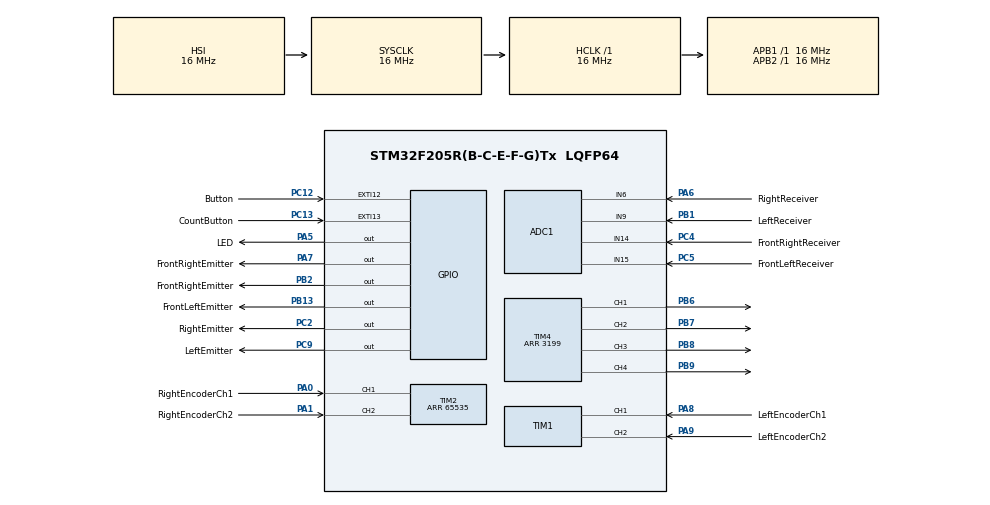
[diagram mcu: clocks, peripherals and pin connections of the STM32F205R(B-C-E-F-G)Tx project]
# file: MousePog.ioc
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ADC1.Channel-0\#ChannelRegularConversion=ADC_CHANNEL_6
ADC1.ContinuousConvMode=ENABLE
ADC1.DMAContinuousRequests=ENABLE
ADC1.NbrOfConversionFlag=1
ADC1.Rank-0\#ChannelRegularConversion=1
ADC1.SamplingTime-0\#ChannelRegularConversion=ADC_SAMPLETIME_3CYCLES
ADC1.master=1
Dma.ADC1.0.Direction=DMA_PERIPH_TO_MEMORY
Dma.ADC1.0.FIFOMode=DMA_FIFOMODE_DISABLE
Dma.ADC1.0.Instance=DMA2_Stream0
Dma.ADC1.0.MemDataAlignment=DMA_MDATAALIGN_HALFWORD
Dma.ADC1.0.MemInc=DMA_MINC_ENABLE
Dma.ADC1.0.Mode=DMA_CIRCULAR
Dma.ADC1.0.PeriphDataAlignment=DMA_PDATAALIGN_HALFWORD
Dma.ADC1.0.PeriphInc=DMA_PINC_DISABLE
Dma.ADC1.0.Priority=DMA_PRIORITY_LOW
Dma.Request0=ADC1
Mcu.Family=STM32F2
Mcu.Name=STM32F205R(B-C-E-F-G)Tx
Mcu.Package=LQFP64
NVIC.DMA2_Stream0_IRQn=true\:0\:0\:false\:false\:true\:false\:true\:true
NVIC.EXTI15_10_IRQn=true\:0\:0\:false\:false\:true\:true\:true\:true
NVIC.PriorityGroup=NVIC_PRIORITYGROUP_4
NVIC.TIM4_IRQn=true\:0\:0\:false\:false\:true\:true\:true\:true
PA0-WKUP.GPIO_Label=RightEncoderCh1
PA0-WKUP.Signal=S_TIM2_CH1_ETR
PA1.GPIO_Label=RightEncoderCh2
PA1.Signal=S_TIM2_CH2
PA5.GPIO_Label=LED
PA5.Signal=GPIO_Output
PA6.GPIO_Label=RightReceiver
PA6.Signal=ADCx_IN6
PA7.GPIO_Label=FrontRightEmitter
PA7.Signal=GPIO_Output
PA8.GPIO_Label=LeftEncoderCh1
PA8.Signal=S_TIM1_CH1
PA9.GPIO_Label=LeftEncoderCh2
PA9.Signal=S_TIM1_CH2
PB1.GPIO_Label=LeftReceiver
PB1.Signal=ADCx_IN9
PB13.GPIO_Label=FrontLeftEmitter
PB13.Signal=GPIO_Output
PB2.GPIO_Label=FrontRightEmitter
PB2.Signal=GPIO_Output
PB6.Signal=S_TIM4_CH1
PB7.Signal=S_TIM4_CH2
PB8.Signal=S_TIM4_CH3
PB9.Signal=S_TIM4_CH4
PC12.GPIO_Label=Button
PC12.GPIO_ModeDefaultEXTI=GPIO_MODE_IT_RISING_FALLING
PC12.Signal=GPXTI12
PC13.GPIO_Label=CountButton
PC13.GPIO_ModeDefaultEXTI=GPIO_MODE_IT_RISING_FALLING
PC13.Signal=GPXTI13
PC2.GPIO_Label=RightEmitter
PC2.Signal=GPIO_Output
PC4.GPIO_Label=FrontRightReceiver
PC4.Signal=ADCx_IN14
PC5.GPIO_Label=FrontLeftReceiver
PC5.Signal=ADCx_IN15
PC9.GPIO_Label=LeftEmitter
PC9.Signal=GPIO_Output
ProjectManager.HeapSize=0x200
ProjectManager.StackSize=0x400
ProjectManager.TargetToolchain=STM32CubeIDE
RCC.48MHZClocksFreq_Value=48000000
RCC.AHBFreq_Value=16000000
RCC.APB1Freq_Value=16000000
RCC.APB2Freq_Value=16000000
RCC.CortexFreq_Value=16000000
RCC.HSE_VALUE=25000000
RCC.HSI_VALUE=16000000
RCC.LSE_VALUE=32768
RCC.SYSCLKFreq_VALUE=16000000
RCC.VCOOutputFreq_Value=192000000
SH.ADCx_IN14.0=ADC1_IN14,IN14
SH.ADCx_IN15.0=ADC1_IN15,IN15
SH.ADCx_IN6.0=ADC1_IN6,IN6
SH.ADCx_IN9.0=ADC1_IN9,IN9
SH.S_TIM1_CH1.0=TIM1_CH1,Encoder_Interface
SH.S_TIM1_CH2.0=TIM1_CH2,Encoder_Interface
SH.S_TIM2_CH1_ETR.0=TIM2_CH1,Encoder_Interface
SH.S_TIM2_CH2.0=TIM2_CH2,Encoder_Interface
SH.S_TIM4_CH1.0=TIM4_CH1,PWM Generation1 CH1
SH.S_TIM4_CH2.0=TIM4_CH2,PWM Generation2 CH2
SH.S_TIM4_CH3.0=TIM4_CH3,PWM Generation3 CH3
SH.S_TIM4_CH4.0=TIM4_CH4,PWM Generation4 CH4
TIM1.EncoderMode=TIM_ENCODERMODE_TI12
TIM2.EncoderMode=TIM_ENCODERMODE_TI12
TIM2.Period=65535
TIM4.Channel-PWM\ Generation1\ CH1=TIM_CHANNEL_1
TIM4.Channel-PWM\ Generation2\ CH2=TIM_CHANNEL_2
TIM4.Channel-PWM\ Generation3\ CH3=TIM_CHANNEL_3
TIM4.Channel-PWM\ Generation4\ CH4=TIM_CHANNEL_4
TIM4.Period=3199
board=custom

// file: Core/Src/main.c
/* USER CODE BEGIN Header */
/**
  ******************************************************************************
  * @file           : main.c
  * @brief          : Main program body
  ******************************************************************************
  * @attention
  *
  * Copyright (c) 2024 STMicroelectronics.
  * All rights reserved.
  *
  * This software is licensed under terms that can be found in the LICENSE file
  * in the root directory of this software component.
  * If no LICENSE file comes with this software, it is provided AS-IS.
  *
  ******************************************************************************
  */
/* USER CODE END Header */
#include "main.h"

/* USER CODE BEGIN Includes */

#include "encoders.h"
#include "motors.h"
#include "controller.h"
#include "pid.h"
#include "delay.h"
#include "irs.h"
#include "solver.h"

/* USER CODE END Includes */

ADC_HandleTypeDef hadc1;
DMA_HandleTypeDef hdma_adc1;

TIM_HandleTypeDef htim1;
TIM_HandleTypeDef htim2;
TIM_HandleTypeDef htim4;

/* USER CODE BEGIN PV */

int16_t left_counts = 0;
int16_t right_counts = 0;

int16_t l = 0;
int16_t lf = 0;
int16_t rf = 0;
int16_t r = 0;

int16_t button = 0;
int16_t returning = 0;
int16_t minCorrectCt = 4;

int16_t completed = 0;
int16_t moveCounts;

/* USER CODE END PV */

void SystemClock_Config(void);
static void MX_GPIO_Init(void);
static void MX_DMA_Init(void);
static void MX_ADC1_Init(void);
static void MX_TIM1_Init(void);
static void MX_TIM2_Init(void);
static void MX_TIM4_Init(void);

int main(void)
{

  /* MCU Configuration--------------------------------------------------------*/

  /* Reset of all peripherals, Initializes the Flash interface and the Systick. */
  HAL_Init();

  /* USER CODE BEGIN Init */

  Delay_Init();

  /* USER CODE END Init */

  /* Configure the system clock */
  SystemClock_Config();

  /* Initialize all configured peripherals */
  MX_GPIO_Init();
  MX_DMA_Init();
  MX_ADC1_Init();
  MX_TIM1_Init();
  MX_TIM2_Init();
  MX_TIM4_Init();
  /* USER CODE BEGIN 2 */

  //Encoder setup:
  HAL_TIM_Encoder_Start(&htim1, TIM_CHANNEL_ALL);
  HAL_TIM_Encoder_Start(&htim2, TIM_CHANNEL_ALL);

  //Motor setup:
  HAL_TIM_PWM_Start(&htim4, TIM_CHANNEL_1);
  HAL_TIM_PWM_Start(&htim4, TIM_CHANNEL_2);
  HAL_TIM_PWM_Start(&htim4, TIM_CHANNEL_3);
  HAL_TIM_PWM_Start(&htim4, TIM_CHANNEL_4);

  HAL_Delay(3000);

  /* USER CODE END 2 */

  /* Infinite loop */
  /* USER CODE BEGIN WHILE */

  initMaze();

  while (1)
  {

	  while (completed == 0) {

		  if (button == 1) {
			  HAL_Delay(5000);
			  button = 0;
		  }

		  l = readLeftIR();
		  lf = readFrontLeftIR();
		  rf = readFrontRightIR();
		  r = readRightIR();

		  Action action = floodFill();

	  	  moveCounts++;

		  switch(action){
			  case FORWARD:
				  move(1);
				  break;
			  case LEFT:
				  turn(-1);
				  if (moveCounts > 1 && r > 450) {
					  correct();
					  moveCounts = 0;
				  }
				  move(1);
				  break;
			  case RIGHT:
				  turn(1);
				  if (moveCounts > 1 && l > 450) {
					  correct();
					  moveCounts = 0;
				  }
				  move(1);
				  break;
			  case BACK:
				  turn(1);
				  if (moveCounts > 1 && l > 450) {
					  correct();
					  moveCounts = 0;
				  }
				  turn(1);
				  move(1);
				  break;
			  case IDLE:
				  completed = 1;
				  break;
		  }

	  }

	  completed = 0;
	  returning = 1;
	  while (completed == 0) {

		  if (button == 1) {
			  HAL_Delay(5000);
			  button = 0;
		  }

		  l = readLeftIR();
		  lf = readFrontLeftIR();
		  rf = readFrontRightIR();
		  r = readRightIR();

		  Action action = floodFillReturn();

		  switch(action){
			  case FORWARD:
				  move(1);
				  break;
			  case LEFT:
				  turn(-1);
				  if (moveCounts > 4 && r > 450) {
					  correct();
					  moveCounts = 0;
				  }
				  move(1);
				  break;
			  case RIGHT:
				  turn(1);
				  if (moveCounts > 4 && l > 450) {
					  correct();
					  moveCounts = 0;
				  }
				  move(1);
				  break;
			  case BACK:
				  turn(1);
				  if (moveCounts > 4 && l > 450) {
					  correct();
					  moveCounts = 0;
				  }
				  turn(1);
				  move(1);
				  break;
			  case IDLE:
				  completed = 1;
				  break;
		  }

		  moveCounts++;
	  }

	  HAL_Delay(5000);

	  completed = 0;
	  returning = 0;
	  while (1) {

		  if (button == 1) {
			  HAL_Delay(5000);
			  button = 0;
		  }
		  l = readLeftIR();
		  lf = readFrontLeftIR();
		  rf = readFrontRightIR();
		  r = readRightIR();

		  Action action = floodFill();

		  if (completed == 1) { action = IDLE; }

		  switch(action){
			  case FORWARD:
				  move(1);
				  break;
			  case LEFT:
				  turn(-1);
				  if (moveCounts > minCorrectCt && r > 450) {
					  correct();
					  moveCounts = 0;
				  }
				  move(1);
				  break;
			  case RIGHT:
				  turn(1);
				  if (moveCounts > minCorrectCt && l > 450) {
					  correct();
					  moveCounts = 0;
				  }
				  move(1);
				  break;
			  case BACK:
				  turn(1);
				  if (moveCounts > minCorrectCt && l > 450) {
					  correct();
					  moveCounts = 0;
				  }
				  turn(1);
				  move(1);
				  break;
			  case IDLE:
				  completed = 1;
				  break;
		  }

		  moveCounts++;
	  }

    /* USER CODE END WHILE */

  }
}

void SystemClock_Config(void)
{
  RCC_OscInitTypeDef RCC_OscInitStruct = {0};
  RCC_ClkInitTypeDef RCC_ClkInitStruct = {0};

  /** Initializes the RCC Oscillators according to the specified parameters
  * in the RCC_OscInitTypeDef structure.
  */
  RCC_OscInitStruct.OscillatorType = RCC_OSCILLATORTYPE_HSI;
  RCC_OscInitStruct.HSIState = RCC_HSI_ON;
  RCC_OscInitStruct.HSICalibrationValue = RCC_HSICALIBRATION_DEFAULT;
  RCC_OscInitStruct.PLL.PLLState = RCC_PLL_NONE;
  if (HAL_RCC_OscConfig(&RCC_OscInitStruct) != HAL_OK)
  {
    Error_Handler();
  }

  /** Initializes the CPU, AHB and APB buses clocks
  */
  RCC_ClkInitStruct.ClockType = RCC_CLOCKTYPE_HCLK|RCC_CLOCKTYPE_SYSCLK
                              |RCC_CLOCKTYPE_PCLK1|RCC_CLOCKTYPE_PCLK2;
  RCC_ClkInitStruct.SYSCLKSource = RCC_SYSCLKSOURCE_HSI;
  RCC_ClkInitStruct.AHBCLKDivider = RCC_SYSCLK_DIV1;
  RCC_ClkInitStruct.APB1CLKDivider = RCC_HCLK_DIV1;
  RCC_ClkInitStruct.APB2CLKDivider = RCC_HCLK_DIV1;

  if (HAL_RCC_ClockConfig(&RCC_ClkInitStruct, FLASH_LATENCY_0) != HAL_OK)
  {
    Error_Handler();
  }
}

static void MX_ADC1_Init(void)
{

  ADC_ChannelConfTypeDef sConfig = {0};

  /** Configure the global features of the ADC (Clock, Resolution, Data Alignment and number of conversion)
  */
  hadc1.Instance = ADC1;
  hadc1.Init.ClockPrescaler = ADC_CLOCK_SYNC_PCLK_DIV2;
  hadc1.Init.Resolution = ADC_RESOLUTION_12B;
  hadc1.Init.ScanConvMode = DISABLE;
  hadc1.Init.ContinuousConvMode = ENABLE;
  hadc1.Init.DiscontinuousConvMode = DISABLE;
  hadc1.Init.ExternalTrigConvEdge = ADC_EXTERNALTRIGCONVEDGE_NONE;
  hadc1.Init.ExternalTrigConv = ADC_SOFTWARE_START;
  hadc1.Init.DataAlign = ADC_DATAALIGN_RIGHT;
  hadc1.Init.NbrOfConversion = 1;
  hadc1.Init.DMAContinuousRequests = ENABLE;
  hadc1.Init.EOCSelection = ADC_EOC_SINGLE_CONV;
  if (HAL_ADC_Init(&hadc1) != HAL_OK)
  {
    Error_Handler();
  }

  /** Configure for the selected ADC regular channel its corresponding rank in the sequencer and its sample time.
  */
  sConfig.Channel = ADC_CHANNEL_6;
  sConfig.Rank = 1;
  sConfig.SamplingTime = ADC_SAMPLETIME_3CYCLES;
  if (HAL_ADC_ConfigChannel(&hadc1, &sConfig) != HAL_OK)
  {
    Error_Handler();
  }

}

static void MX_TIM1_Init(void)
{

  TIM_Encoder_InitTypeDef sConfig = {0};
  TIM_MasterConfigTypeDef sMasterConfig = {0};

  htim1.Instance = TIM1;
  htim1.Init.Prescaler = 0;
  htim1.Init.CounterMode = TIM_COUNTERMODE_UP;
  htim1.Init.Period = 65535;
  htim1.Init.ClockDivision = TIM_CLOCKDIVISION_DIV1;
  htim1.Init.RepetitionCounter = 0;
  htim1.Init.AutoReloadPreload = TIM_AUTORELOAD_PRELOAD_DISABLE;
  sConfig.EncoderMode = TIM_ENCODERMODE_TI12;
  sConfig.IC1Polarity = TIM_ICPOLARITY_RISING;
  sConfig.IC1Selection = TIM_ICSELECTION_DIRECTTI;
  sConfig.IC1Prescaler = TIM_ICPSC_DIV1;
  sConfig.IC1Filter = 0;
  sConfig.IC2Polarity = TIM_ICPOLARITY_RISING;
  sConfig.IC2Selection = TIM_ICSELECTION_DIRECTTI;
  sConfig.IC2Prescaler = TIM_ICPSC_DIV1;
  sConfig.IC2Filter = 0;
  if (HAL_TIM_Encoder_Init(&htim1, &sConfig) != HAL_OK)
  {
    Error_Handler();
  }
  sMasterConfig.MasterOutputTrigger = TIM_TRGO_RESET;
  sMasterConfig.MasterSlaveMode = TIM_MASTERSLAVEMODE_DISABLE;
  if (HAL_TIMEx_MasterConfigSynchronization(&htim1, &sMasterConfig) != HAL_OK)
  {
    Error_Handler();
  }

}

static void MX_TIM2_Init(void)
{

  TIM_Encoder_InitTypeDef sConfig = {0};
  TIM_MasterConfigTypeDef sMasterConfig = {0};

  htim2.Instance = TIM2;
  htim2.Init.Prescaler = 0;
  htim2.Init.CounterMode = TIM_COUNTERMODE_UP;
  htim2.Init.Period = 65535;
  htim2.Init.ClockDivision = TIM_CLOCKDIVISION_DIV1;
  htim2.Init.AutoReloadPreload = TIM_AUTORELOAD_PRELOAD_DISABLE;
  sConfig.EncoderMode = TIM_ENCODERMODE_TI12;
  sConfig.IC1Polarity = TIM_ICPOLARITY_RISING;
  sConfig.IC1Selection = TIM_ICSELECTION_DIRECTTI;
  sConfig.IC1Prescaler = TIM_ICPSC_DIV1;
  sConfig.IC1Filter = 0;
  sConfig.IC2Polarity = TIM_ICPOLARITY_RISING;
  sConfig.IC2Selection = TIM_ICSELECTION_DIRECTTI;
  sConfig.IC2Prescaler = TIM_ICPSC_DIV1;
  sConfig.IC2Filter = 0;
  if (HAL_TIM_Encoder_Init(&htim2, &sConfig) != HAL_OK)
  {
    Error_Handler();
  }
  sMasterConfig.MasterOutputTrigger = TIM_TRGO_RESET;
  sMasterConfig.MasterSlaveMode = TIM_MASTERSLAVEMODE_DISABLE;
  if (HAL_TIMEx_MasterConfigSynchronization(&htim2, &sMasterConfig) != HAL_OK)
  {
    Error_Handler();
  }

}

static void MX_TIM4_Init(void)
{

  TIM_MasterConfigTypeDef sMasterConfig = {0};
  TIM_OC_InitTypeDef sConfigOC = {0};

  htim4.Instance = TIM4;
  htim4.Init.Prescaler = 0;
  htim4.Init.CounterMode = TIM_COUNTERMODE_UP;
  htim4.Init.Period = 3199;
  htim4.Init.ClockDivision = TIM_CLOCKDIVISION_DIV1;
  htim4.Init.AutoReloadPreload = TIM_AUTORELOAD_PRELOAD_DISABLE;
  if (HAL_TIM_PWM_Init(&htim4) != HAL_OK)
  {
    Error_Handler();
  }
  sMasterConfig.MasterOutputTrigger = TIM_TRGO_RESET;
  sMasterConfig.MasterSlaveMode = TIM_MASTERSLAVEMODE_DISABLE;
  if (HAL_TIMEx_MasterConfigSynchronization(&htim4, &sMasterConfig) != HAL_OK)
  {
    Error_Handler();
  }
  sConfigOC.OCMode = TIM_OCMODE_PWM1;
  sConfigOC.Pulse = 0;
  sConfigOC.OCPolarity = TIM_OCPOLARITY_HIGH;
  sConfigOC.OCFastMode = TIM_OCFAST_DISABLE;
  if (HAL_TIM_PWM_ConfigChannel(&htim4, &sConfigOC, TIM_CHANNEL_1) != HAL_OK)
  {
    Error_Handler();
  }
  if (HAL_TIM_PWM_ConfigChannel(&htim4, &sConfigOC, TIM_CHANNEL_2) != HAL_OK)
  {
    Error_Handler();
  }
  if (HAL_TIM_PWM_ConfigChannel(&htim4, &sConfigOC, TIM_CHANNEL_3) != HAL_OK)
  {
    Error_Handler();
  }
  if (HAL_TIM_PWM_ConfigChannel(&htim4, &sConfigOC, TIM_CHANNEL_4) != HAL_OK)
  {
    Error_Handler();
  }
  HAL_TIM_MspPostInit(&htim4);

}

static void MX_DMA_Init(void)
{

  /* DMA controller clock enable */
  __HAL_RCC_DMA2_CLK_ENABLE();

  /* DMA interrupt init */
  /* DMA2_Stream0_IRQn interrupt configuration */
  HAL_NVIC_SetPriority(DMA2_Stream0_IRQn, 0, 0);
  HAL_NVIC_EnableIRQ(DMA2_Stream0_IRQn);

}

static void MX_GPIO_Init(void)
{
  GPIO_InitTypeDef GPIO_InitStruct = {0};

  /* GPIO Ports Clock Enable */
  __HAL_RCC_GPIOC_CLK_ENABLE();
  __HAL_RCC_GPIOA_CLK_ENABLE();
  __HAL_RCC_GPIOB_CLK_ENABLE();

  /*Configure GPIO pin Output Level */
  HAL_GPIO_WritePin(GPIOC, RightEmitter_Pin|LeftEmitter_Pin, GPIO_PIN_RESET);

  /*Configure GPIO pin Output Level */
  HAL_GPIO_WritePin(GPIOA, LED_Pin|FrontRightEmitter_Pin, GPIO_PIN_RESET);

  /*Configure GPIO pin Output Level */
  HAL_GPIO_WritePin(GPIOB, FrontRightEmitterB2_Pin|FrontLeftEmitter_Pin, GPIO_PIN_RESET);

  /*Configure GPIO pins : CountButton_Pin Button_Pin */
  GPIO_InitStruct.Pin = CountButton_Pin|Button_Pin;
  GPIO_InitStruct.Mode = GPIO_MODE_IT_RISING_FALLING;
  GPIO_InitStruct.Pull = GPIO_NOPULL;
  HAL_GPIO_Init(GPIOC, &GPIO_InitStruct);

  /*Configure GPIO pins : RightEmitter_Pin LeftEmitter_Pin */
  GPIO_InitStruct.Pin = RightEmitter_Pin|LeftEmitter_Pin;
  GPIO_InitStruct.Mode = GPIO_MODE_OUTPUT_PP;
  GPIO_InitStruct.Pull = GPIO_NOPULL;
  GPIO_InitStruct.Speed = GPIO_SPEED_FREQ_LOW;
  HAL_GPIO_Init(GPIOC, &GPIO_InitStruct);

  /*Configure GPIO pins : LED_Pin FrontRightEmitter_Pin */
  GPIO_InitStruct.Pin = LED_Pin|FrontRightEmitter_Pin;
  GPIO_InitStruct.Mode = GPIO_MODE_OUTPUT_PP;
  GPIO_InitStruct.Pull = GPIO_NOPULL;
  GPIO_InitStruct.Speed = GPIO_SPEED_FREQ_LOW;
  HAL_GPIO_Init(GPIOA, &GPIO_InitStruct);

  /*Configure GPIO pins : FrontRightEmitterB2_Pin FrontLeftEmitter_Pin */
  GPIO_InitStruct.Pin = FrontRightEmitterB2_Pin|FrontLeftEmitter_Pin;
  GPIO_InitStruct.Mode = GPIO_MODE_OUTPUT_PP;
  GPIO_InitStruct.Pull = GPIO_NOPULL;
  GPIO_InitStruct.Speed = GPIO_SPEED_FREQ_LOW;
  HAL_GPIO_Init(GPIOB, &GPIO_InitStruct);

  /* EXTI interrupt init*/
  HAL_NVIC_SetPriority(EXTI15_10_IRQn, 0, 0);
  HAL_NVIC_EnableIRQ(EXTI15_10_IRQn);

}

/* USER CODE BEGIN 4 */

void HAL_GPIO_EXTI_Callback(uint16_t GPIO_PIN)
{
	if (GPIO_PIN == Button_Pin)
	{

		if (HAL_GPIO_ReadPin(Button_GPIO_Port, Button_Pin) == GPIO_PIN_RESET){
			  completed = 0;
			  if (returning == 1) {
				  resetPositionReturn();
			  }
			  else {
				  resetPosition();
			  }
			  resetPID();
			  button = 1;
		}

	}

	if (GPIO_PIN == CountButton_Pin) {
		if (HAL_GPIO_ReadPin(CountButton_GPIO_Port, CountButton_Pin) == GPIO_PIN_RESET){
		  minCorrectCt++;
		  decDelay();
		}
	}
}

ADC_HandleTypeDef* Get_HADC1_Ptr(void)
{
	return &hadc1;
}

/* USER CODE END 4 */

void Error_Handler(void)
{
  __disable_irq();
  while (1)
  {
  }
}
